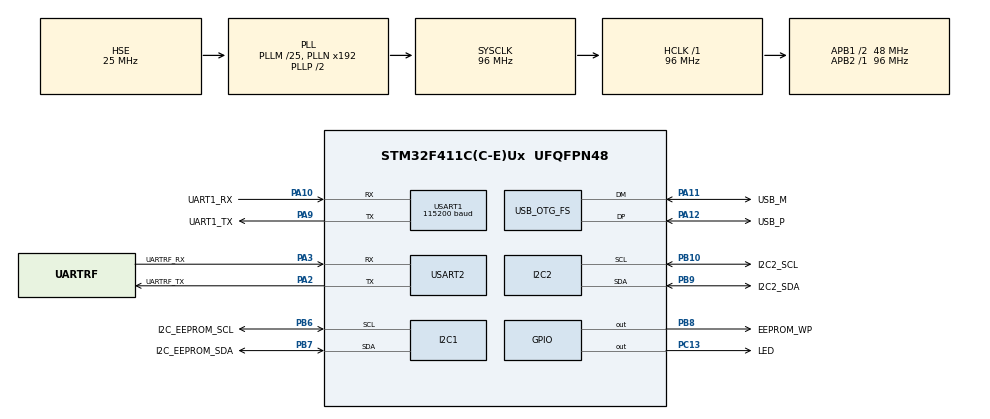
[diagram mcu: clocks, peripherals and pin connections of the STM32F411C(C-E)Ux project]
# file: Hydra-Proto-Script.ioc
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Dma.Request0=USART1_RX
Dma.Request1=USART1_TX
Dma.Request2=USART2_TX
Dma.Request3=USART2_RX
Dma.USART1_RX.0.Direction=DMA_PERIPH_TO_MEMORY
Dma.USART1_RX.0.FIFOMode=DMA_FIFOMODE_DISABLE
Dma.USART1_RX.0.Instance=DMA2_Stream2
Dma.USART1_RX.0.MemDataAlignment=DMA_MDATAALIGN_BYTE
Dma.USART1_RX.0.MemInc=DMA_MINC_ENABLE
Dma.USART1_RX.0.Mode=DMA_CIRCULAR
Dma.USART1_RX.0.PeriphDataAlignment=DMA_PDATAALIGN_BYTE
Dma.USART1_RX.0.PeriphInc=DMA_PINC_DISABLE
Dma.USART1_RX.0.Priority=DMA_PRIORITY_LOW
Dma.USART1_TX.1.Direction=DMA_MEMORY_TO_PERIPH
Dma.USART1_TX.1.FIFOMode=DMA_FIFOMODE_DISABLE
Dma.USART1_TX.1.Instance=DMA2_Stream7
Dma.USART1_TX.1.MemDataAlignment=DMA_MDATAALIGN_BYTE
Dma.USART1_TX.1.MemInc=DMA_MINC_ENABLE
Dma.USART1_TX.1.Mode=DMA_NORMAL
Dma.USART1_TX.1.PeriphDataAlignment=DMA_PDATAALIGN_BYTE
Dma.USART1_TX.1.PeriphInc=DMA_PINC_DISABLE
Dma.USART1_TX.1.Priority=DMA_PRIORITY_LOW
Dma.USART2_RX.3.Direction=DMA_PERIPH_TO_MEMORY
Dma.USART2_RX.3.FIFOMode=DMA_FIFOMODE_DISABLE
Dma.USART2_RX.3.Instance=DMA1_Stream5
Dma.USART2_RX.3.MemDataAlignment=DMA_MDATAALIGN_BYTE
Dma.USART2_RX.3.MemInc=DMA_MINC_ENABLE
Dma.USART2_RX.3.Mode=DMA_NORMAL
Dma.USART2_RX.3.PeriphDataAlignment=DMA_PDATAALIGN_BYTE
Dma.USART2_RX.3.PeriphInc=DMA_PINC_DISABLE
Dma.USART2_RX.3.Priority=DMA_PRIORITY_LOW
Dma.USART2_TX.2.Direction=DMA_MEMORY_TO_PERIPH
Dma.USART2_TX.2.FIFOMode=DMA_FIFOMODE_DISABLE
Dma.USART2_TX.2.Instance=DMA1_Stream6
Dma.USART2_TX.2.MemDataAlignment=DMA_MDATAALIGN_BYTE
Dma.USART2_TX.2.MemInc=DMA_MINC_ENABLE
Dma.USART2_TX.2.Mode=DMA_NORMAL
Dma.USART2_TX.2.PeriphDataAlignment=DMA_PDATAALIGN_BYTE
Dma.USART2_TX.2.PeriphInc=DMA_PINC_DISABLE
Dma.USART2_TX.2.Priority=DMA_PRIORITY_LOW
Mcu.Family=STM32F4
Mcu.Name=STM32F411C(C-E)Ux
Mcu.Package=UFQFPN48
NVIC.DMA1_Stream5_IRQn=true\:0\:0\:false\:false\:true\:false\:true\:true
NVIC.DMA1_Stream6_IRQn=true\:0\:0\:false\:false\:true\:false\:true\:true
NVIC.DMA2_Stream2_IRQn=true\:5\:0\:true\:false\:true\:false\:true\:true
NVIC.DMA2_Stream7_IRQn=true\:5\:0\:true\:false\:true\:false\:true\:true
NVIC.OTG_FS_IRQn=true\:5\:0\:true\:false\:true\:false\:true\:true
NVIC.PriorityGroup=NVIC_PRIORITYGROUP_4
NVIC.TIM2_IRQn=true\:15\:0\:false\:false\:true\:false\:true\:true
NVIC.TimeBase=TIM2_IRQn
NVIC.TimeBaseIP=TIM2
NVIC.USART1_IRQn=true\:6\:0\:true\:false\:true\:true\:true\:true
NVIC.USART2_IRQn=true\:6\:0\:true\:false\:true\:true\:true\:true
PA10.GPIO_Label=UART1_RX
PA10.Mode=Asynchronous
PA10.Signal=USART1_RX
PA11.GPIO_Label=USB_M
PA11.Mode=Device_Only
PA11.Signal=USB_OTG_FS_DM
PA12.GPIO_Label=USB_P
PA12.Mode=Device_Only
PA12.Signal=USB_OTG_FS_DP
PA2.GPIO_Label=UARTRF_TX
PA2.Mode=Asynchronous
PA2.Signal=USART2_TX
PA3.GPIO_Label=UARTRF_RX
PA3.Mode=Asynchronous
PA3.Signal=USART2_RX
PA9.GPIO_Label=UART1_TX
PA9.Mode=Asynchronous
PA9.Signal=USART1_TX
PB10.GPIO_Label=I2C2_SCL
PB10.Mode=I2C
PB10.Signal=I2C2_SCL
PB6.GPIO_Label=I2C_EEPROM_SCL
PB6.Mode=I2C
PB6.Signal=I2C1_SCL
PB7.GPIO_Label=I2C_EEPROM_SDA
PB7.Mode=I2C
PB7.Signal=I2C1_SDA
PB8.GPIO_Label=EEPROM_WP
PB8.Signal=GPIO_Output
PB9.GPIO_Label=I2C2_SDA
PB9.Mode=I2C
PB9.Signal=I2C2_SDA
PC13-ANTI_TAMP.GPIO_Label=LED
PC13-ANTI_TAMP.Signal=GPIO_Output
PH0\ -\ OSC_IN.Mode=HSE-External-Oscillator
PH0\ -\ OSC_IN.Signal=RCC_OSC_IN
PH1\ -\ OSC_OUT.Mode=HSE-External-Oscillator
PH1\ -\ OSC_OUT.Signal=RCC_OSC_OUT
ProjectManager.HeapSize=0x200
ProjectManager.StackSize=0x400
ProjectManager.TargetToolchain=STM32CubeIDE
RCC.48MHZClocksFreq_Value=48000000
RCC.AHBFreq_Value=96000000
RCC.APB1CLKDivider=RCC_HCLK_DIV2
RCC.APB1Freq_Value=48000000
RCC.APB1TimFreq_Value=96000000
RCC.APB2Freq_Value=96000000
RCC.APB2TimFreq_Value=96000000
RCC.CortexFreq_Value=96000000
RCC.HCLKFreq_Value=96000000
RCC.HSE_VALUE=25000000
RCC.HSI_VALUE=16000000
RCC.LSE_VALUE=32768
RCC.PLLM=25
RCC.SYSCLKFreq_VALUE=96000000
RCC.SYSCLKSource=RCC_SYSCLKSOURCE_PLLCLK
RCC.VCOOutputFreq_Value=192000000
TIM5.Prescaler=95
USART1.BaudRate=115200
USART1.VirtualMode=VM_ASYNC
USART2.VirtualMode=VM_ASYNC
USB_DEVICE.CLASS_NAME_FS=CDC
USB_DEVICE.VirtualMode=Cdc
USB_DEVICE.VirtualModeFS=Cdc_FS
USB_OTG_FS.VirtualMode=Device_Only
VP_SYS_VS_tim2.Mode=TIM2
VP_TIM5_VS_ClockSourceINT.Mode=Internal
VP_USB_DEVICE_VS_USB_DEVICE_CDC_FS.Mode=CDC_FS
board=custom

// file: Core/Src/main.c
/* USER CODE BEGIN Header */
/**
  ******************************************************************************
  * @file           : main.c
  * @brief          : Main program body
  ******************************************************************************
  * @attention
  *
  * Copyright (c) 2026 STMicroelectronics.
  * All rights reserved.
  *
  * This software is licensed under terms that can be found in the LICENSE file
  * in the root directory of this software component.
  * If no LICENSE file comes with this software, it is provided AS-IS.
  *
  ******************************************************************************
  */
/* USER CODE END Header */
#include "main.h"
#include "usb_device.h"

/* USER CODE BEGIN Includes */
#include "FreeRTOS.h"
#include "task.h"
#include "queue.h"
#include "usb_cdc_wrapper.h"
#include "uart_wrapper_stream.h"
/* USER CODE END Includes */

I2C_HandleTypeDef hi2c1;
I2C_HandleTypeDef hi2c2;

TIM_HandleTypeDef htim5;

UART_HandleTypeDef huart1;
UART_HandleTypeDef huart2;
DMA_HandleTypeDef hdma_usart1_rx;
DMA_HandleTypeDef hdma_usart1_tx;
DMA_HandleTypeDef hdma_usart2_tx;
DMA_HandleTypeDef hdma_usart2_rx;

/* USER CODE BEGIN PV */
wUSBD usb;
extern USBD_HandleTypeDef hUsbDeviceFS;
TaskHandle_t ProcessTask;
wUART wuart2;
uint8_t n = 0;
/* USER CODE END PV */

void SystemClock_Config(void);
static void MX_GPIO_Init(void);
static void MX_DMA_Init(void);
static void MX_USART1_UART_Init(void);
static void MX_I2C1_Init(void);
static void MX_USART2_UART_Init(void);
static void MX_I2C2_Init(void);
static void MX_TIM5_Init(void);
/* USER CODE BEGIN PFP */

void Process(void*)
{
  uint8_t num_buf[64];
  uint32_t pckt_cnt = 0;
  uint32_t num = 0;
  uint32_t num_rec;
  uint32_t errs = 0;
  uint32_t trans_timestamp[1024];
  uint32_t err_timestamp[1024];
  uint32_t in_trans = 0;
  uint32_t in_err = 0;

  HAL_TIM_Base_Start(&htim5);
  wUART_OpenRXDMA(&wuart2);

  while(1)
    {
      ulTaskNotifyTake(pdFALSE, portMAX_DELAY);

      HAL_GPIO_TogglePin(LED_GPIO_Port, LED_Pin);

      while(FIFO_GetCount(&usb._rx_fifo) > 0)
	{
	  uint32_t us_tick = htim5.Instance->CNT;

	  pckt_cnt = USB_ReadRXFIFO(&usb, num_buf, 64);

	  wUART_WriteTX(&wuart2, num_buf, pckt_cnt);

	  memcpy(&num_rec, num_buf, 4);

	  if(num_rec != num)
	    {
	      errs+= (num_rec - num);
	      err_timestamp[in_err] = us_tick;
	      in_err++;
	    }

	  num = num_rec + 1;
	  trans_timestamp[in_trans] = us_tick;
	  in_trans++;
	  if(in_trans == 1024) break;
	}

      if(in_trans == 1024) break;

    }

  while(1)
    {
      uint8_t buf[6] = "DONE\n";
      USB_WriteTX(&usb, buf, 6);

      vTaskDelay(pdMS_TO_TICKS(1000));
    }
}

void ProcessTaskNotify(void)
{
  BaseType_t xHigherPriorityTaskWoken = pdFALSE;
  vTaskNotifyGiveFromISR(ProcessTask, &xHigherPriorityTaskWoken);
}
/* USER CODE END PFP */

int main(void)
{

  /* MCU Configuration--------------------------------------------------------*/

  /* Reset of all peripherals, Initializes the Flash interface and the Systick. */
  HAL_Init();

  /* Configure the system clock */
  SystemClock_Config();

  /* Initialize all configured peripherals */
  MX_GPIO_Init();
  MX_DMA_Init();
  MX_USART1_UART_Init();
  MX_USB_DEVICE_Init();
  MX_I2C1_Init();
  MX_USART2_UART_Init();
  MX_I2C2_Init();
  MX_TIM5_Init();
  /* USER CODE BEGIN 2 */

  USB_Init(&usb, &hUsbDeviceFS);
  USB_SetDRCallback(&usb, ProcessTaskNotify);

  wUART_Init(&wuart2, &huart2);

  xTaskCreate(Process, "Process USB", 4096, NULL, 1, &ProcessTask);

  vTaskStartScheduler();

  /* USER CODE END 2 */

  /* Infinite loop */
  while (1)
  {

  }
}

void SystemClock_Config(void)
{
  RCC_OscInitTypeDef RCC_OscInitStruct = {0};
  RCC_ClkInitTypeDef RCC_ClkInitStruct = {0};

  /** Configure the main internal regulator output voltage
  */
  __HAL_RCC_PWR_CLK_ENABLE();
  __HAL_PWR_VOLTAGESCALING_CONFIG(PWR_REGULATOR_VOLTAGE_SCALE1);

  /** Initializes the RCC Oscillators according to the specified parameters
  * in the RCC_OscInitTypeDef structure.
  */
  RCC_OscInitStruct.OscillatorType = RCC_OSCILLATORTYPE_HSE;
  RCC_OscInitStruct.HSEState = RCC_HSE_ON;
  RCC_OscInitStruct.PLL.PLLState = RCC_PLL_ON;
  RCC_OscInitStruct.PLL.PLLSource = RCC_PLLSOURCE_HSE;
  RCC_OscInitStruct.PLL.PLLM = 25;
  RCC_OscInitStruct.PLL.PLLN = 192;
  RCC_OscInitStruct.PLL.PLLP = RCC_PLLP_DIV2;
  RCC_OscInitStruct.PLL.PLLQ = 4;
  if (HAL_RCC_OscConfig(&RCC_OscInitStruct) != HAL_OK)
  {
    Error_Handler();
  }

  /** Initializes the CPU, AHB and APB buses clocks
  */
  RCC_ClkInitStruct.ClockType = RCC_CLOCKTYPE_HCLK|RCC_CLOCKTYPE_SYSCLK
                              |RCC_CLOCKTYPE_PCLK1|RCC_CLOCKTYPE_PCLK2;
  RCC_ClkInitStruct.SYSCLKSource = RCC_SYSCLKSOURCE_PLLCLK;
  RCC_ClkInitStruct.AHBCLKDivider = RCC_SYSCLK_DIV1;
  RCC_ClkInitStruct.APB1CLKDivider = RCC_HCLK_DIV2;
  RCC_ClkInitStruct.APB2CLKDivider = RCC_HCLK_DIV1;

  if (HAL_RCC_ClockConfig(&RCC_ClkInitStruct, FLASH_LATENCY_3) != HAL_OK)
  {
    Error_Handler();
  }
}

static void MX_I2C1_Init(void)
{

  hi2c1.Instance = I2C1;
  hi2c1.Init.ClockSpeed = 100000;
  hi2c1.Init.DutyCycle = I2C_DUTYCYCLE_2;
  hi2c1.Init.OwnAddress1 = 0;
  hi2c1.Init.AddressingMode = I2C_ADDRESSINGMODE_7BIT;
  hi2c1.Init.DualAddressMode = I2C_DUALADDRESS_DISABLE;
  hi2c1.Init.OwnAddress2 = 0;
  hi2c1.Init.GeneralCallMode = I2C_GENERALCALL_DISABLE;
  hi2c1.Init.NoStretchMode = I2C_NOSTRETCH_DISABLE;
  if (HAL_I2C_Init(&hi2c1) != HAL_OK)
  {
    Error_Handler();
  }

}

static void MX_I2C2_Init(void)
{

  hi2c2.Instance = I2C2;
  hi2c2.Init.ClockSpeed = 100000;
  hi2c2.Init.DutyCycle = I2C_DUTYCYCLE_2;
  hi2c2.Init.OwnAddress1 = 0;
  hi2c2.Init.AddressingMode = I2C_ADDRESSINGMODE_7BIT;
  hi2c2.Init.DualAddressMode = I2C_DUALADDRESS_DISABLE;
  hi2c2.Init.OwnAddress2 = 0;
  hi2c2.Init.GeneralCallMode = I2C_GENERALCALL_DISABLE;
  hi2c2.Init.NoStretchMode = I2C_NOSTRETCH_DISABLE;
  if (HAL_I2C_Init(&hi2c2) != HAL_OK)
  {
    Error_Handler();
  }

}

static void MX_TIM5_Init(void)
{

  TIM_ClockConfigTypeDef sClockSourceConfig = {0};
  TIM_MasterConfigTypeDef sMasterConfig = {0};

  htim5.Instance = TIM5;
  htim5.Init.Prescaler = 95;
  htim5.Init.CounterMode = TIM_COUNTERMODE_UP;
  htim5.Init.Period = 4294967295;
  htim5.Init.ClockDivision = TIM_CLOCKDIVISION_DIV1;
  htim5.Init.AutoReloadPreload = TIM_AUTORELOAD_PRELOAD_DISABLE;
  if (HAL_TIM_Base_Init(&htim5) != HAL_OK)
  {
    Error_Handler();
  }
  sClockSourceConfig.ClockSource = TIM_CLOCKSOURCE_INTERNAL;
  if (HAL_TIM_ConfigClockSource(&htim5, &sClockSourceConfig) != HAL_OK)
  {
    Error_Handler();
  }
  sMasterConfig.MasterOutputTrigger = TIM_TRGO_RESET;
  sMasterConfig.MasterSlaveMode = TIM_MASTERSLAVEMODE_DISABLE;
  if (HAL_TIMEx_MasterConfigSynchronization(&htim5, &sMasterConfig) != HAL_OK)
  {
    Error_Handler();
  }

}

static void MX_USART1_UART_Init(void)
{

  huart1.Instance = USART1;
  huart1.Init.BaudRate = 115200;
  huart1.Init.WordLength = UART_WORDLENGTH_8B;
  huart1.Init.StopBits = UART_STOPBITS_1;
  huart1.Init.Parity = UART_PARITY_NONE;
  huart1.Init.Mode = UART_MODE_TX_RX;
  huart1.Init.HwFlowCtl = UART_HWCONTROL_NONE;
  huart1.Init.OverSampling = UART_OVERSAMPLING_16;
  if (HAL_UART_Init(&huart1) != HAL_OK)
  {
    Error_Handler();
  }

}

static void MX_USART2_UART_Init(void)
{

  huart2.Instance = USART2;
  huart2.Init.BaudRate = 115200;
  huart2.Init.WordLength = UART_WORDLENGTH_8B;
  huart2.Init.StopBits = UART_STOPBITS_1;
  huart2.Init.Parity = UART_PARITY_NONE;
  huart2.Init.Mode = UART_MODE_TX_RX;
  huart2.Init.HwFlowCtl = UART_HWCONTROL_NONE;
  huart2.Init.OverSampling = UART_OVERSAMPLING_16;
  if (HAL_UART_Init(&huart2) != HAL_OK)
  {
    Error_Handler();
  }

}

static void MX_DMA_Init(void)
{

  /* DMA controller clock enable */
  __HAL_RCC_DMA2_CLK_ENABLE();
  __HAL_RCC_DMA1_CLK_ENABLE();

  /* DMA interrupt init */
  /* DMA1_Stream5_IRQn interrupt configuration */
  HAL_NVIC_SetPriority(DMA1_Stream5_IRQn, 0, 0);
  HAL_NVIC_EnableIRQ(DMA1_Stream5_IRQn);
  /* DMA1_Stream6_IRQn interrupt configuration */
  HAL_NVIC_SetPriority(DMA1_Stream6_IRQn, 0, 0);
  HAL_NVIC_EnableIRQ(DMA1_Stream6_IRQn);
  /* DMA2_Stream2_IRQn interrupt configuration */
  HAL_NVIC_SetPriority(DMA2_Stream2_IRQn, 5, 0);
  HAL_NVIC_EnableIRQ(DMA2_Stream2_IRQn);
  /* DMA2_Stream7_IRQn interrupt configuration */
  HAL_NVIC_SetPriority(DMA2_Stream7_IRQn, 5, 0);
  HAL_NVIC_EnableIRQ(DMA2_Stream7_IRQn);

}

static void MX_GPIO_Init(void)
{
  GPIO_InitTypeDef GPIO_InitStruct = {0};

  /* GPIO Ports Clock Enable */
  __HAL_RCC_GPIOC_CLK_ENABLE();
  __HAL_RCC_GPIOH_CLK_ENABLE();
  __HAL_RCC_GPIOA_CLK_ENABLE();
  __HAL_RCC_GPIOB_CLK_ENABLE();

  /*Configure GPIO pin Output Level */
  HAL_GPIO_WritePin(LED_GPIO_Port, LED_Pin, GPIO_PIN_RESET);

  /*Configure GPIO pin Output Level */
  HAL_GPIO_WritePin(EEPROM_WP_GPIO_Port, EEPROM_WP_Pin, GPIO_PIN_RESET);

  /*Configure GPIO pin : LED_Pin */
  GPIO_InitStruct.Pin = LED_Pin;
  GPIO_InitStruct.Mode = GPIO_MODE_OUTPUT_PP;
  GPIO_InitStruct.Pull = GPIO_NOPULL;
  GPIO_InitStruct.Speed = GPIO_SPEED_FREQ_LOW;
  HAL_GPIO_Init(LED_GPIO_Port, &GPIO_InitStruct);

  /*Configure GPIO pin : EEPROM_WP_Pin */
  GPIO_InitStruct.Pin = EEPROM_WP_Pin;
  GPIO_InitStruct.Mode = GPIO_MODE_OUTPUT_PP;
  GPIO_InitStruct.Pull = GPIO_NOPULL;
  GPIO_InitStruct.Speed = GPIO_SPEED_FREQ_LOW;
  HAL_GPIO_Init(EEPROM_WP_GPIO_Port, &GPIO_InitStruct);

}

void HAL_TIM_PeriodElapsedCallback(TIM_HandleTypeDef *htim)
{
  if (htim->Instance == TIM2) {
    HAL_IncTick();
  }
}

void Error_Handler(void)
{
  __disable_irq();
  while (1)
  {
  }
}
